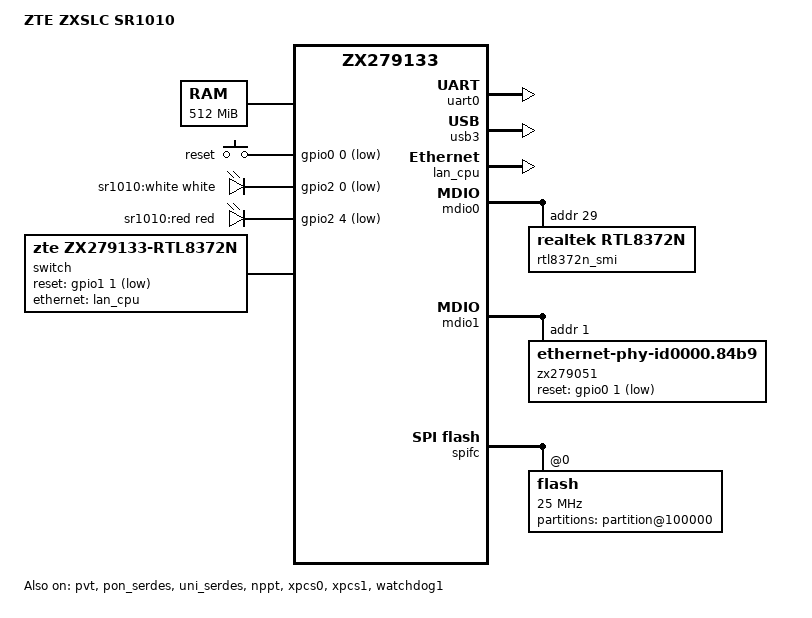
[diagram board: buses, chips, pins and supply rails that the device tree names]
// SPDX-License-Identifier: GPL-2.0-only OR BSD-2-Clause
/dts-v1/;

#include <dt-bindings/gpio/gpio.h>
#include <dt-bindings/input/input.h>
#include <dt-bindings/leds/common.h>

#include "zx279133.dtsi"

/ {
	model = "ZTE ZXSLC SR1010";
	compatible = "zte,zx279133-sr1010", "zte,zx279133";

	aliases {
		serial0 = &uart0;
		watchdog0 = &watchdog0;
		watchdog1 = &watchdog1;
	};

	chosen {
		stdout-path = "serial0:115200n8";
	};

	memory@80000000 {
		device_type = "memory";
		reg = <0x0 0x80000000 0x0 0x20000000>;
	};

	reserved-memory {
		#address-cells = <2>;
		#size-cells = <2>;
		ranges;

		se_hash_reserved: buffer@9e100000 {
			reg = <0x0 0x9e100000 0x0 0x1000000>;
			no-map;
		};

		idm_reserved: buffer@9d700000 {
			reg = <0x0 0x9d700000 0x0 0xa00000>;
			no-map;
		};

		bmu_reserved: buffer@9f100000 {
			reg = <0x0 0x9f100000 0x0 0x0f00000>;
			no-map;
		};
	};

	gpio-keys {
		compatible = "gpio-keys";
		label = "SR1010 reset button";

		button-reset {
			debounce-interval = <50>;
			gpios = <&gpio0 0 GPIO_ACTIVE_LOW>;
			label = "reset";
			linux,code = <KEY_RESTART>;
		};
	};

	leds {
		compatible = "gpio-leds";

		led-white {
			color = <LED_COLOR_ID_WHITE>;
			default-state = "keep";
			function = LED_FUNCTION_STATUS;
			gpios = <&gpio2 0 GPIO_ACTIVE_LOW>;
			label = "sr1010:white";
			retain-state-shutdown;
		};

		led-red {
			color = <LED_COLOR_ID_RED>;
			default-state = "keep";
			function = LED_FUNCTION_STATUS;
			gpios = <&gpio2 4 GPIO_ACTIVE_LOW>;
			label = "sr1010:red";
			retain-state-shutdown;
		};
	};

	thermal-zones {
		soc-thermal {
			thermal-sensors = <&pvt>;
		};
	};
};

&uart0 {
	status = "okay";
};

&usb3 {
	status = "okay";
};

&pvt {
	status = "okay";
};

&pon_serdes {
	status = "okay";
};

&uni_serdes {
	status = "okay";
};

&nppt {
	memory-region = <&bmu_reserved>, <&se_hash_reserved>, <&idm_reserved>;
	memory-region-names = "bmu", "se-hash", "idm";
	phy-handle = <&zx279051>;
	status = "okay";

	lan_cpu: ethernet-lan-cpu {
		compatible = "zte,zx279133-lan-conduit";
	};

	switch {
		compatible = "zte,zx279133-rtl8372n";
		zte,mdio-handle = <&rtl8372n_smi>;
		reset-gpios = <&gpio1 1 GPIO_ACTIVE_LOW>;

		ports {
			#address-cells = <1>;
			#size-cells = <0>;

			port@4 {
				reg = <4>;
				label = "lan4";
				phy-mode = "internal";

				fixed-link {
					speed = <2500>;
					full-duplex;
				};
			};

			port@5 {
				reg = <5>;
				label = "lan3";
				phy-mode = "internal";

				fixed-link {
					speed = <2500>;
					full-duplex;
				};
			};

			port@6 {
				reg = <6>;
				label = "lan2";
				phy-mode = "internal";

				fixed-link {
					speed = <2500>;
					full-duplex;
				};
			};

			port@7 {
				reg = <7>;
				label = "lan1";
				phy-mode = "internal";

				fixed-link {
					speed = <2500>;
					full-duplex;
				};
			};

			port@8 {
				reg = <8>;
				ethernet = <&lan_cpu>;
				phy-mode = "10gbase-r";

				fixed-link {
					speed = <10000>;
					full-duplex;
				};
			};
		};
	};
};

&mdio0 {
	status = "okay";

	rtl8372n_smi: switch-controller@1d {
		compatible = "realtek,rtl8372n";
		reg = <0x1d>;
	};
};

&mdio1 {
	status = "okay";

	zx279051: ethernet-phy@1 {
		compatible = "ethernet-phy-id0000.84b9";
		reg = <1>;
		max-speed = <2500>;
		reset-gpios = <&gpio0 1 GPIO_ACTIVE_LOW>;
		reset-assert-us = <100000>;
		reset-deassert-us = <100000>;
	};
};

&xpcs0 {
	status = "okay";
};

&xpcs1 {
	status = "okay";
};

&watchdog1 {
	status = "okay";
};

&spifc {
	/* Keep SFC timing conservative until it is characterized on hardware. */
	spi-max-frequency = <25000000>;
	status = "okay";

	flash@0 {
		read-only;
		spi-max-frequency = <25000000>;

		partitions {
			partition@100000 {
				read-only;
			};
		};
	};
};
